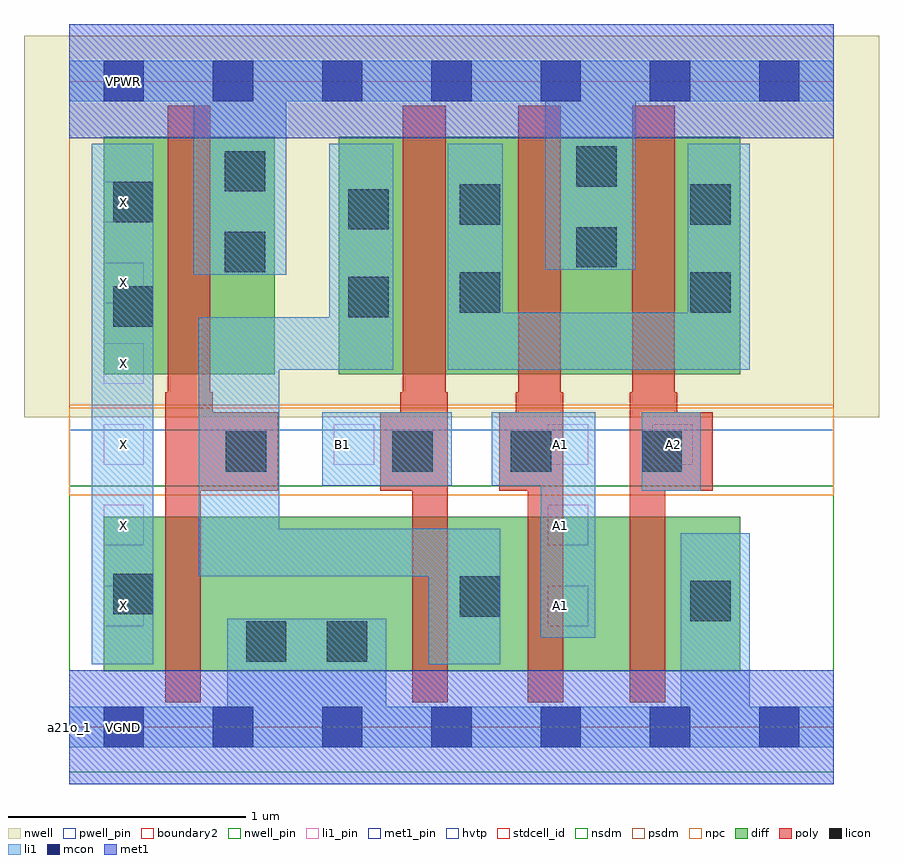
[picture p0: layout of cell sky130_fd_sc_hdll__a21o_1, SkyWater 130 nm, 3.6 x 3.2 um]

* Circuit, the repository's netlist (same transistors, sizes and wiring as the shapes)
* Copyright 2020 The SkyWater PDK Authors
*
* Licensed under the Apache License, Version 2.0 (the "License");
* you may not use this file except in compliance with the License.
* You may obtain a copy of the License at
*
*     https://www.apache.org/licenses/LICENSE-2.0
*
* Unless required by applicable law or agreed to in writing, software
* distributed under the License is distributed on an "AS IS" BASIS,
* WITHOUT WARRANTIES OR CONDITIONS OF ANY KIND, either express or implied.
* See the License for the specific language governing permissions and
* limitations under the License.
*
* SPDX-License-Identifier: Apache-2.0

.SUBCKT sky130_fd_sc_hdll__a21o_1 A1 A2 B1 VGND VNB VPB VPWR X
*.PININFO A1:I A2:I B1:I VGND:I VNB:I VPB:I VPWR:I X:O
MMPA0 pndA A1 VPWR VPB sky130_fd_pr__pfet_01v8_hvt m=1 w=1.0U l=0.18U mult=1 sa=0.265
+ sb=0.265 sd=0.28 area=0.063 perim=1.14
MMPA1 pndA A2 VPWR VPB sky130_fd_pr__pfet_01v8_hvt m=1 w=1.0U l=0.18U mult=1 sa=0.265
+ sb=0.265 sd=0.28 area=0.063 perim=1.14
MMPB0 y B1 pndA VPB sky130_fd_pr__pfet_01v8_hvt m=1 w=1.0U l=0.18U mult=1 sa=0.265
+ sb=0.265 sd=0.28 area=0.063 perim=1.14
MMIPX X y VPWR VPB sky130_fd_pr__pfet_01v8_hvt m=1 w=1.0U l=0.18U mult=1 sa=0.265
+ sb=0.265 sd=0.28 area=0.063 perim=1.14
MMNA0 y A1 sndA1 VNB sky130_fd_pr__nfet_01v8 m=1 w=0.65U l=0.15U mult=1 sa=0.265
+ sb=0.265 sd=0.28 area=0.063 perim=1.14
MMNA1 sndA1 A2 VGND VNB sky130_fd_pr__nfet_01v8 m=1 w=0.65U l=0.15U mult=1 sa=0.265
+ sb=0.265 sd=0.28 area=0.063 perim=1.14
MMNB0 y B1 VGND VNB sky130_fd_pr__nfet_01v8 m=1 w=0.65U l=0.15U mult=1 sa=0.265
+ sb=0.265 sd=0.28 area=0.063 perim=1.14
MMINX X y VGND VNB sky130_fd_pr__nfet_01v8 m=1 w=0.65U l=0.15U mult=1 sa=0.265
+ sb=0.265 sd=0.28 area=0.063 perim=1.14
.ENDS sky130_fd_sc_hdll__a21o_1

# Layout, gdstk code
import gdstk
lib = gdstk.Library(unit=1e-6, precision=1e-09)
def R(c, l, rs):  # rectangles x0, y0, x1, y1
    for r in rs: c.add(gdstk.rectangle(r[:2], r[2:], *l))
def A(c, l, x, y, w, h, nx, ny, dx, dy):  # array of equal rectangles
    R(c, l, [(x+i*dx, y+j*dy, x+i*dx+w, y+j*dy+h) for i in range(nx) for j in range(ny)])
def P(c, l, *ps):  # polygons
    for p in ps: c.add(gdstk.Polygon(p, *l))
nwell_pin = (64, 16)
nwell = (64, 20)
diff = (65, 20)
poly = (66, 20)
licon = (66, 44)
li1_pin = (67, 16)
li1 = (67, 20)
mcon = (67, 44)
met1_pin = (68, 16)
met1 = (68, 20)
hvtp = (78, 44)
stdcell_id = (81, 4)
nsdm = (93, 44)
psdm = (94, 20)
npc = (95, 20)
pwell_pin = (122, 16)
boundary2 = (236, 0)

sky130_fd_sc_hdll__a21o_ = lib.new_cell('sky130_fd_sc_hdll__a21o_1')
R(sky130_fd_sc_hdll__a21o_, nwell_pin, [(0.145,2.635,0.315,2.805)])
R(sky130_fd_sc_hdll__a21o_, nwell, [(-0.19,1.305,3.41,2.91)])
R(sky130_fd_sc_hdll__a21o_, diff, [(0.145,0.235,2.825,0.885), (0.145,1.485,0.865,2.485), (1.135,1.485,2.825,2.485)])
P(sky130_fd_sc_hdll__a21o_, poly, [(0.88,1.325),(0.605,1.325),(0.605,1.41),(0.595,1.41),(0.595,2.615),(0.415,2.615),(0.415,1.41),(0.405,1.41),(0.405,0.105),(0.555,0.105),(0.555,0.995),(0.88,0.995)],
  [(1.595,1.41),(1.585,1.41),(1.585,2.615),(1.405,2.615),(1.405,1.41),(1.395,1.41),(1.395,1.325),(1.31,1.325),(1.31,0.995),(1.445,0.995),(1.445,0.105),(1.595,0.105)],
  [(2.08,1.41),(2.07,1.41),(2.07,2.615),(1.89,2.615),(1.89,1.41),(1.88,1.41),(1.88,1.325),(1.81,1.325),(1.81,0.995),(1.93,0.995),(1.93,0.105),(2.08,0.105)],
  [(2.71,1.325),(2.56,1.325),(2.56,1.41),(2.55,1.41),(2.55,2.615),(2.37,2.615),(2.37,1.41),(2.36,1.41),(2.36,0.105),(2.51,0.105),(2.51,0.995),(2.71,0.995)])
R(sky130_fd_sc_hdll__a21o_, licon, [(0.745,0.275,0.915,0.445), (1.085,0.275,1.255,0.445), (2.615,0.445,2.785,0.615), (1.645,0.465,1.815,0.635), (0.185,0.475,0.355,0.645), (0.66,1.075,0.83,1.245), (1.36,1.075,1.53,1.245), (1.86,1.075,2.03,1.245), (2.41,1.075,2.58,1.245), (0.185,1.685,0.355,1.855), (1.175,1.725,1.345,1.895), (1.645,1.745,1.815,1.915), (2.615,1.745,2.785,1.915), (0.655,1.915,0.825,2.085), (2.135,1.935,2.305,2.105), (1.175,2.095,1.345,2.265), (1.645,2.115,1.815,2.285), (2.615,2.115,2.785,2.285), (0.185,2.125,0.355,2.295), (0.655,2.255,0.825,2.425), (2.135,2.275,2.305,2.445)])
A(sky130_fd_sc_hdll__a21o_, li1_pin, 0.145, 0.425, 0.17, 0.17, 1, 6, 0, 0.34)
A(sky130_fd_sc_hdll__a21o_, li1_pin, 2.015, 0.425, 0.17, 0.17, 1, 3, 0, 0.34)
R(sky130_fd_sc_hdll__a21o_, li1_pin, [(1.115,1.105,1.285,1.275), (2.455,1.105,2.625,1.275)])
R(sky130_fd_sc_hdll__a21o_, li1, [(0.095,0.265,0.355,2.455), (2.41,0.995,2.66,1.325), (1.065,1.015,1.61,1.325)])
P(sky130_fd_sc_hdll__a21o_, li1, [(3.22,2.805),(0,2.805),(0,2.635),(0.525,2.635),(0.525,1.905),(0.915,1.905),(0.915,2.635),(2.005,2.635),(2.005,1.925),(2.385,1.925),(2.385,2.635),(3.22,2.635)],
  [(3.22,0.085),(2.865,0.085),(2.865,0.815),(2.575,0.815),(2.575,0.085),(1.335,0.085),(1.335,0.455),(0.665,0.455),(0.665,0.085),(0,0.085),(0,-0.085),(3.22,-0.085)],
  [(2.215,1.325),(1.78,1.325),(1.78,1.015),(1.985,1.015),(1.985,0.375),(2.215,0.375)],
  [(2.865,2.455),(2.605,2.455),(2.605,1.745),(1.825,1.745),(1.825,2.455),(1.595,2.455),(1.595,1.505),(2.865,1.505)],
  [(1.815,0.835),(0.885,0.835),(0.885,1.505),(1.365,1.505),(1.365,2.455),(1.095,2.455),(1.095,1.725),(0.545,1.725),(0.545,0.635),(1.515,0.635),(1.515,0.265),(1.815,0.265)])
A(sky130_fd_sc_hdll__a21o_, mcon, 0.145, -0.085, 0.17, 0.17, 7, 2, 0.46, 2.72)
R(sky130_fd_sc_hdll__a21o_, met1_pin, [(0.145,-0.085,0.315,0.085), (0.145,2.635,0.315,2.805)])
R(sky130_fd_sc_hdll__a21o_, met1, [(0,-0.24,3.22,0.24), (0,2.48,3.22,2.96)])
R(sky130_fd_sc_hdll__a21o_, hvtp, [(0,1.25,3.22,2.72)])
R(sky130_fd_sc_hdll__a21o_, stdcell_id, [(0,0,3.22,2.72)])
R(sky130_fd_sc_hdll__a21o_, nsdm, [(0,-0.19,3.22,1.015)])
R(sky130_fd_sc_hdll__a21o_, psdm, [(0,1.355,3.22,2.91)])
R(sky130_fd_sc_hdll__a21o_, npc, [(0,0.975,3.22,1.345)])
R(sky130_fd_sc_hdll__a21o_, pwell_pin, [(0.145,-0.085,0.315,0.085)])
R(sky130_fd_sc_hdll__a21o_, boundary2, [(0,0,3.22,2.72)])
sky130_fd_sc_hdll__a21o_.add(gdstk.Label('A2', (2.545,1.19), layer=67, texttype=5))
sky130_fd_sc_hdll__a21o_.add(gdstk.Label('A1', (2.07,0.51), layer=67, texttype=5))
sky130_fd_sc_hdll__a21o_.add(gdstk.Label('A1', (2.07,0.85), layer=67, texttype=5))
sky130_fd_sc_hdll__a21o_.add(gdstk.Label('A1', (2.07,1.19), layer=67, texttype=5))
sky130_fd_sc_hdll__a21o_.add(gdstk.Label('B1', (1.15,1.19), layer=67, texttype=5))
sky130_fd_sc_hdll__a21o_.add(gdstk.Label('X', (0.23,0.51), layer=67, texttype=5))
sky130_fd_sc_hdll__a21o_.add(gdstk.Label('X', (0.23,2.21), layer=67, texttype=5))
sky130_fd_sc_hdll__a21o_.add(gdstk.Label('X', (0.23,1.87), layer=67, texttype=5))
sky130_fd_sc_hdll__a21o_.add(gdstk.Label('X', (0.23,1.53), layer=67, texttype=5))
sky130_fd_sc_hdll__a21o_.add(gdstk.Label('X', (0.23,1.19), layer=67, texttype=5))
sky130_fd_sc_hdll__a21o_.add(gdstk.Label('X', (0.23,0.85), layer=67, texttype=5))
sky130_fd_sc_hdll__a21o_.add(gdstk.Label('VPWR', (0.23,2.72), layer=68, texttype=5))
sky130_fd_sc_hdll__a21o_.add(gdstk.Label('VGND', (0.23,0), layer=68, texttype=5))
sky130_fd_sc_hdll__a21o_.add(gdstk.Label('VPB', (0.23,2.72), layer=64, texttype=5))
sky130_fd_sc_hdll__a21o_.add(gdstk.Label('VNB', (0.23,0), layer=64, texttype=59))
sky130_fd_sc_hdll__a21o_.add(gdstk.Label('a21o_1', (0,0), layer=83, texttype=44))

lib.write_gds('sky130_fd_sc_hdll__a21o_1.gds')
